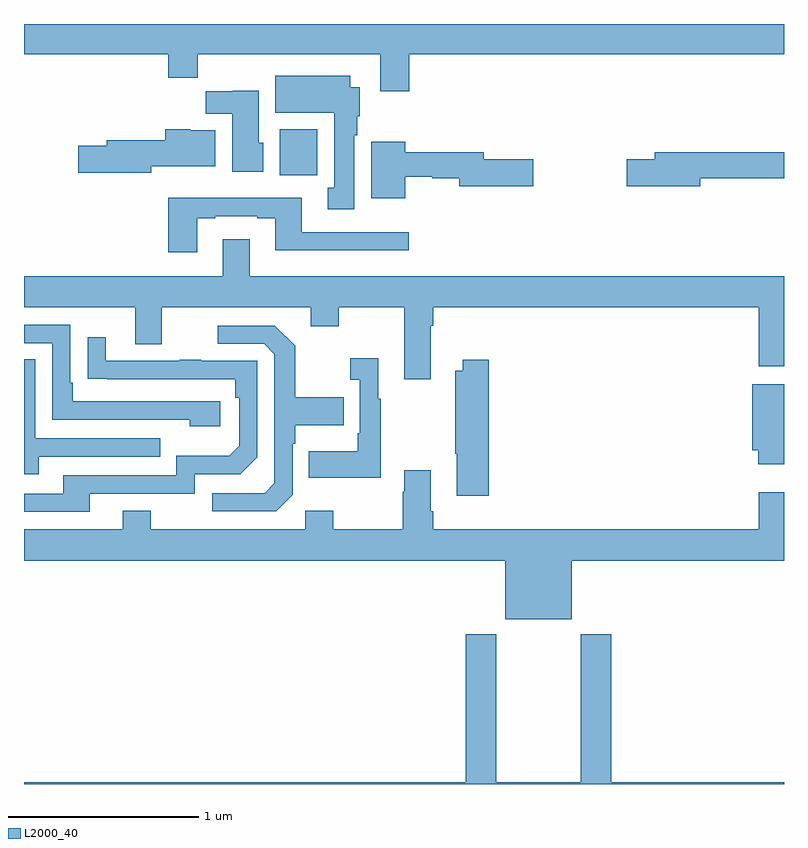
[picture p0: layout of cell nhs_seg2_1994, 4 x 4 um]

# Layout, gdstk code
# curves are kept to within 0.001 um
import gdstk
lib = gdstk.Library(unit=1e-6, precision=1e-09)
def R(c, l, rs):  # rectangles x0, y0, x1, y1
    for r in rs: c.add(gdstk.rectangle(r[:2], r[2:], *l))
def P(c, l, *ps):  # polygons
    for p in ps: c.add(gdstk.Polygon(p, *l))
L2000_40 = (2000, 40)

nhs_seg2_1994 = lib.new_cell('nhs_seg2_1994')
R(nhs_seg2_1994, L2000_40, [(216.347,643.004,216.544,643.246)])
P(nhs_seg2_1994, L2000_40, [(217.028,643.64),(219,643.64),(219,643.8),(215,643.8),(215,643.64),(215.759,643.64),(215.759,643.516),(215.915,643.516),(215.915,643.64),(216.875,643.64),(216.875,643.446),(217.028,643.446)],
  [(216.739,643.214),(216.754,643.214),(216.754,643.314),(216.766,643.314),(216.766,643.468),(216.718,643.468),(216.718,643.528),(216.323,643.528),(216.323,643.334),(216.632,643.334),(216.632,642.938),(216.599,642.938),(216.599,642.825),(216.739,642.825)],
  [(216.259,643.176),(216.235,643.176),(216.235,643.45),(216.099,643.45),(216.099,643.446),(215.956,643.446),(215.956,643.328),(216.095,643.328),(216.095,643.022),(216.259,643.022)],
  [(215.67,643.052),(216.007,643.052),(216.007,643.24),(215.874,643.24),(215.874,643.246),(215.744,643.246),(215.744,643.188),(215.435,643.188),(215.435,643.158),(215.286,643.158),(215.286,643.016),(215.67,643.016)],
  [(217.006,642.996),(217.149,642.996),(217.149,642.988),(217.292,642.988),(217.292,642.946),(217.681,642.946),(217.681,643.088),(217.42,643.088),(217.42,643.124),(217.006,643.124),(217.006,643.18),(216.827,643.18),(216.827,642.884),(217.006,642.884)],
  [(218.56,642.988),(219,642.988),(219,643.124),(218.321,643.124),(218.321,643.088),(218.172,643.088),(218.172,642.946),(218.56,642.946)],
  [(215.911,642.777),(216.007,642.777),(216.007,642.789),(216.227,642.789),(216.227,642.777),(216.323,642.777),(216.323,642.608),(217.024,642.608),(217.024,642.705),(216.463,642.705),(216.463,642.886),(215.759,642.886),(215.759,642.6),(215.911,642.6)],
  [(217.141,642.212),(217.154,642.212),(217.154,642.308),(218.867,642.308),(218.867,642),(219,642),(219,642.472),(216.187,642.472),(216.187,642.667),(216.047,642.667),(216.047,642.472),(215,642.472),(215,642.308),(215.585,642.308),(215.585,642.114),(215.725,642.114),(215.725,642.308),(216.509,642.308),(216.509,642.209),(216.657,642.209),(216.657,642.308),(217.001,642.308),(217.001,641.931),(217.141,641.931)],
  [(216.034,641.814),(215.257,641.814),(215.257,641.911),(215.244,641.911),(215.244,642.216),(215,642.216),(215,642.12),(215.148,642.12),(215.148,641.718),(215.873,641.718),(215.873,641.684),(216.034,641.684)],
  [(216.414,641.322),(216.414,641.591),(216.427,641.591),(216.427,641.687),(216.683,641.687),(216.683,641.835),(216.427,641.835),(216.427,642.107),(216.321,642.213),(216.021,642.213),(216.021,642.117),(216.264,642.117),(216.318,642.063),(216.318,641.382),(216.267,641.331),(215.991,641.331),(215.991,641.235),(216.327,641.235)],
  [(215.347,641.328),(215.898,641.328),(215.898,641.43),(216.138,641.43),(216.228,641.52),(216.228,642.027),(215.933,642.027),(215.933,642.032),(215.821,642.032),(215.821,642.027),(215.431,642.027),(215.431,642.151),(215.335,642.151),(215.335,641.932),(216.112,641.931),(216.112,641.834),(216.132,641.834),(216.132,641.58),(216.079,641.527),(215.802,641.527),(215.802,641.424),(215.207,641.424),(215.207,641.328),(215,641.328),(215,641.232),(215.347,641.232)],
  [(216.877,641.827),(216.865,641.827),(216.865,642.04),(216.717,642.04),(216.717,641.927),(216.768,641.927),(216.768,641.647),(216.756,641.647),(216.756,641.551),(216.499,641.551),(216.499,641.411),(216.877,641.411)],
  [(215.077,641.523),(215.717,641.523),(215.717,641.619),(215.058,641.619),(215.058,642.035),(215,642.035),(215,641.429),(215.077,641.429)],
  [(217.445,642.034),(217.31,642.034),(217.31,641.974),(217.27,641.974),(217.27,641.539),(217.277,641.539),(217.277,641.316),(217.445,641.316)],
  [(219,641.905),(218.834,641.905),(218.834,641.556),(218.864,641.556),(218.864,641.483),(219,641.483)],
  [(217.882,640.976),(219,640.976),(219,641.335),(218.867,641.335),(218.867,641.14),(217.154,641.14),(217.154,641.236),(217.141,641.236),(217.141,641.452),(217.001,641.452),(217.001,641.339),(216.994,641.339),(216.994,641.14),(216.627,641.14),(216.627,641.239),(216.48,641.239),(216.48,641.14),(215.667,641.14),(215.667,641.239),(215.519,641.239),(215.519,641.14),(215,641.14),(215,640.976),(217.532,640.976),(217.532,640.667),(217.882,640.667)],
  [(219,639.808),(218.09,639.808),(218.09,640.588),(217.93,640.588),(217.93,639.808),(217.485,639.808),(217.485,640.588),(217.325,640.588),(217.325,639.808),(215,639.808),(215,639.8),(219,639.8)])

lib.write_gds('nhs_seg2_1994.gds')
